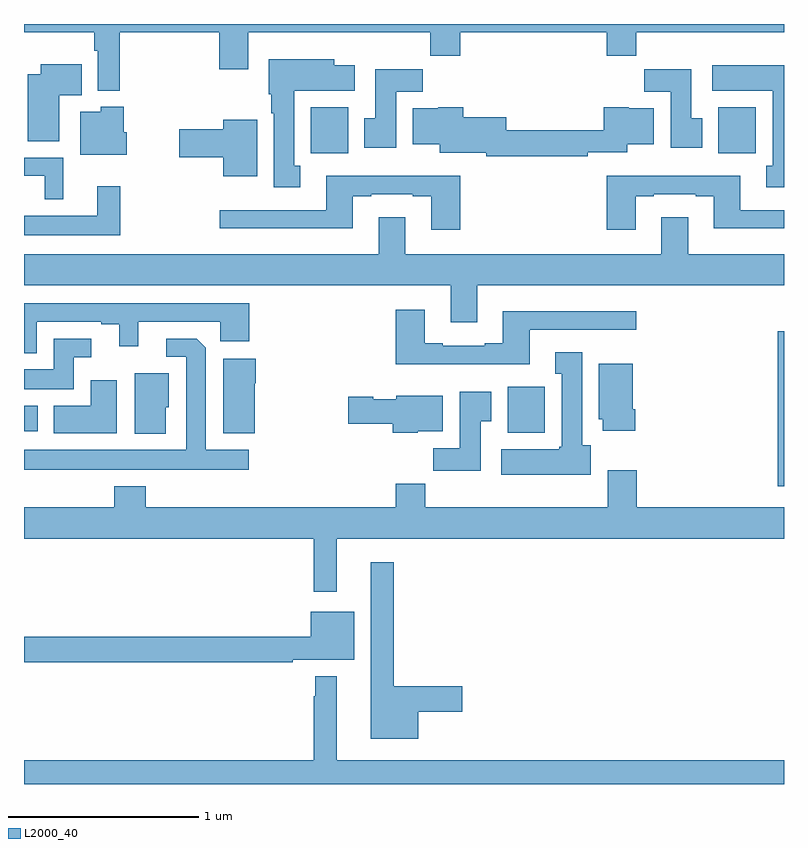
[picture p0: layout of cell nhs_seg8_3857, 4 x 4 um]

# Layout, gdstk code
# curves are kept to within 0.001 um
import gdstk
lib = gdstk.Library(unit=1e-6, precision=1e-09)
def R(c, l, rs):  # rectangles x0, y0, x1, y1
    for r in rs: c.add(gdstk.rectangle(r[:2], r[2:], *l))
def P(c, l, *ps):  # polygons
    for p in ps: c.add(gdstk.Polygon(p, *l))
L2000_40 = (2000, 40)

nhs_seg8_3857 = lib.new_cell('nhs_seg8_3857')
R(nhs_seg8_3857, L2000_40, [(352.966,1091.466,353,1092.283), (351.545,1091.75,351.742,1091.992), (349,1091.756,349.072,1091.89), (350.51,1093.22,350.707,1093.462), (352.655,1093.22,352.852,1093.462)])
P(nhs_seg8_3857, L2000_40, [(349.505,1093.856),(350.027,1093.856),(350.027,1093.662),(350.179,1093.662),(350.179,1093.856),(351.139,1093.856),(351.139,1093.732),(351.296,1093.732),(351.296,1093.856),(352.067,1093.856),(352.067,1093.732),(352.223,1093.732),(352.223,1093.856),(353,1093.856),(353,1093.9),(349,1093.9),(349,1093.856),(349.369,1093.856),(349.369,1093.76),(349.389,1093.76),(349.389,1093.55),(349.505,1093.55)],
  [(350.455,1093.154),(350.422,1093.154),(350.422,1093.55),(350.74,1093.55),(350.74,1093.684),(350.632,1093.684),(350.632,1093.714),(350.288,1093.714),(350.288,1093.53),(350.3,1093.53),(350.3,1093.43),(350.315,1093.43),(350.315,1093.041),(350.455,1093.041)],
  [(349.186,1093.526),(349.304,1093.526),(349.304,1093.687),(349.088,1093.687),(349.088,1093.636),(349.019,1093.636),(349.019,1093.282),(349.186,1093.282)],
  [(353,1093.684),(352.623,1093.684),(352.623,1093.55),(352.94,1093.55),(352.94,1093.154),(352.907,1093.154),(352.907,1093.041),(353,1093.041)],
  [(350.959,1093.544),(351.098,1093.544),(351.098,1093.663),(350.849,1093.663),(350.849,1093.404),(350.792,1093.404),(350.792,1093.248),(350.959,1093.248)],
  [(352.57,1093.404),(352.513,1093.404),(352.513,1093.663),(352.264,1093.663),(352.264,1093.544),(352.403,1093.544),(352.403,1093.248),(352.57,1093.248)],
  [(349.54,1093.329),(349.525,1093.329),(349.525,1093.465),(349.404,1093.465),(349.404,1093.438),(349.295,1093.438),(349.295,1093.211),(349.54,1093.211)],
  [(351.968,1093.224),(352.174,1093.224),(352.174,1093.268),(352.315,1093.268),(352.315,1093.456),(352.182,1093.456),(352.182,1093.462),(352.052,1093.462),(352.052,1093.34),(351.538,1093.34),(351.538,1093.408),(351.311,1093.408),(351.311,1093.462),(351.18,1093.462),(351.18,1093.456),(351.047,1093.456),(351.047,1093.268),(351.188,1093.268),(351.188,1093.223),(351.434,1093.223),(351.434,1093.204),(351.968,1093.204)],
  [(350.227,1093.396),(350.048,1093.396),(350.048,1093.346),(349.818,1093.346),(349.818,1093.199),(350.048,1093.199),(350.048,1093.1),(350.227,1093.1)],
  [(349.207,1093.197),(349,1093.197),(349,1093.101),(349.109,1093.101),(349.109,1092.977),(349.207,1092.977)],
  [(352.219,1092.993),(352.315,1092.993),(352.315,1093.005),(352.535,1093.005),(352.535,1092.993),(352.631,1092.993),(352.631,1092.824),(353,1092.824),(353,1092.921),(352.771,1092.921),(352.771,1093.102),(352.067,1093.102),(352.067,1092.816),(352.219,1092.816)],
  [(351.296,1093.102),(350.591,1093.102),(350.591,1092.921),(350.031,1092.921),(350.031,1092.824),(350.731,1092.824),(350.731,1092.993),(350.827,1092.993),(350.827,1093.005),(351.047,1093.005),(351.047,1092.993),(351.143,1092.993),(351.143,1092.816),(351.296,1092.816)],
  [(349.507,1093.045),(349.385,1093.045),(349.385,1092.892),(349,1092.892),(349,1092.788),(349.507,1092.788)],
  [(351.385,1092.524),(353,1092.524),(353,1092.688),(352.495,1092.688),(352.495,1092.883),(352.355,1092.883),(352.355,1092.688),(351.007,1092.688),(351.007,1092.883),(350.867,1092.883),(350.867,1092.688),(349,1092.688),(349,1092.524),(351.245,1092.524),(351.245,1092.33),(351.385,1092.33)],
  [(349.068,1092.333),(349.406,1092.333),(349.406,1092.321),(349.502,1092.321),(349.502,1092.204),(349.6,1092.204),(349.6,1092.333),(350.034,1092.333),(350.034,1092.23),(350.186,1092.23),(350.186,1092.429),(349,1092.429),(349,1092.167),(349.068,1092.167)],
  [(351.661,1092.291),(352.222,1092.291),(352.222,1092.388),(351.521,1092.388),(351.521,1092.22),(351.425,1092.22),(351.425,1092.207),(351.205,1092.207),(351.205,1092.22),(351.109,1092.22),(351.109,1092.397),(350.957,1092.397),(350.957,1092.11),(351.661,1092.11)],
  [(350.182,1091.659),(349.957,1091.659),(349.956,1092.197),(349.91,1092.243),(349.749,1092.243),(349.749,1092.15),(349.853,1092.15),(349.853,1091.659),(349,1091.659),(349,1091.555),(350.182,1091.555)],
  [(349.261,1092.147),(349.354,1092.147),(349.354,1092.243),(349.157,1092.243),(349.157,1092.082),(349,1092.082),(349,1091.978),(349.261,1091.978)],
  [(351.982,1091.682),(351.937,1091.682),(351.937,1092.172),(351.797,1092.172),(351.797,1092.059),(351.83,1092.059),(351.83,1091.676),(351.817,1091.676),(351.817,1091.662),(351.513,1091.662),(351.513,1091.528),(351.982,1091.528)],
  [(350.214,1092.008),(350.219,1092.008),(350.219,1092.139),(350.048,1092.139),(350.048,1091.747),(350.214,1091.747)],
  [(352.217,1091.872),(352.204,1091.872),(352.204,1092.112),(352.025,1092.112),(352.025,1091.82),(352.046,1091.82),(352.046,1091.76),(352.217,1091.76)],
  [(349.747,1091.883),(349.762,1091.883),(349.762,1092.061),(349.583,1092.061),(349.583,1091.744),(349.747,1091.744)],
  [(349.489,1092.025),(349.352,1092.025),(349.352,1091.89),(349.157,1091.89),(349.157,1091.747),(349.489,1091.747)],
  [(351.403,1091.809),(351.46,1091.809),(351.46,1091.965),(351.293,1091.965),(351.293,1091.668),(351.154,1091.668),(351.154,1091.55),(351.403,1091.55)],
  [(351.072,1091.756),(351.205,1091.756),(351.205,1091.944),(350.958,1091.944),(350.958,1091.926),(350.838,1091.926),(350.838,1091.939),(350.706,1091.939),(350.706,1091.797),(350.942,1091.797),(350.942,1091.75),(351.072,1091.75)],
  [(350.647,1091.192),(353,1091.192),(353,1091.356),(352.226,1091.356),(352.226,1091.551),(352.073,1091.551),(352.073,1091.356),(351.113,1091.356),(351.113,1091.48),(350.957,1091.48),(350.957,1091.356),(349.64,1091.356),(349.64,1091.467),(349.475,1091.467),(349.475,1091.356),(349,1091.356),(349,1091.192),(350.526,1091.192),(350.526,1090.911),(350.647,1090.911)],
  [(351.076,1090.28),(351.307,1090.28),(351.307,1090.415),(350.947,1090.415),(350.947,1091.068),(350.825,1091.068),(350.825,1090.139),(351.076,1090.139)],
  [(350.414,1090.553),(350.737,1090.553),(350.737,1090.807),(350.51,1090.807),(350.51,1090.676),(349,1090.676),(349,1090.54),(350.414,1090.54)],
  [(353,1090.024),(350.647,1090.024),(350.647,1090.468),(350.532,1090.468),(350.532,1090.361),(350.526,1090.361),(350.526,1090.024),(349,1090.024),(349,1089.9),(353,1089.9)])

lib.write_gds('nhs_seg8_3857.gds')
